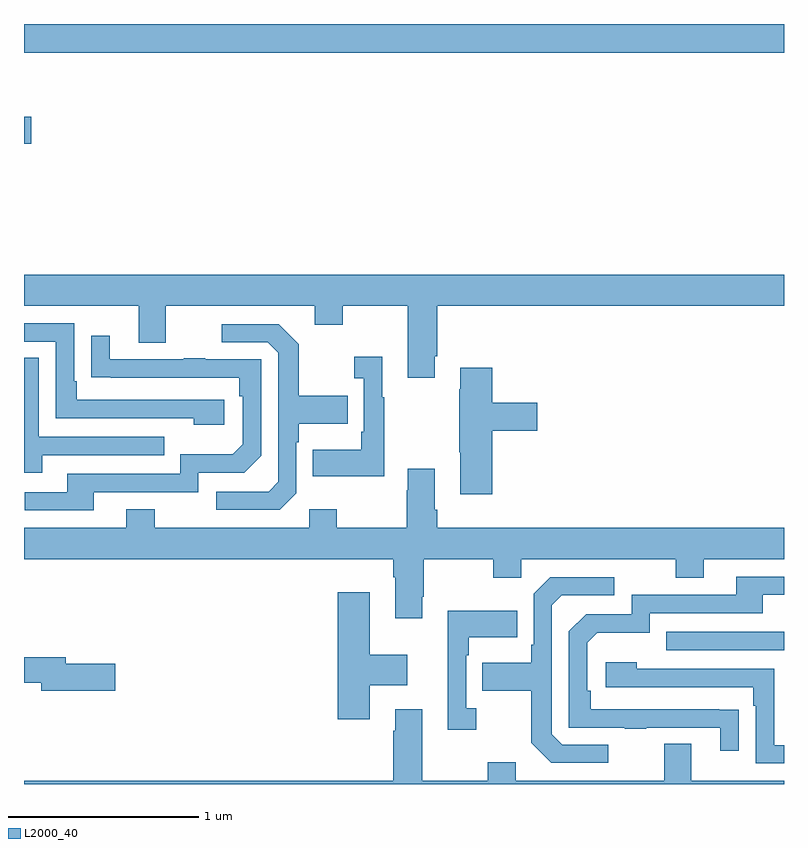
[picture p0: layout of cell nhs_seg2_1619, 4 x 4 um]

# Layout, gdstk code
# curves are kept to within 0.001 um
import gdstk
lib = gdstk.Library(unit=1e-6, precision=1e-09)
def R(c, l, rs):  # rectangles x0, y0, x1, y1
    for r in rs: c.add(gdstk.rectangle(r[:2], r[2:], *l))
def P(c, l, *ps):  # polygons
    for p in ps: c.add(gdstk.Polygon(p, *l))
L2000_40 = (2000, 40)

nhs_seg2_1619 = lib.new_cell('nhs_seg2_1619')
R(nhs_seg2_1619, L2000_40, [(198.379,632.505,199,632.601), (195,635.171,195.037,635.313), (195,635.648,199,635.8)])
P(nhs_seg2_1619, L2000_40, [(197.161,634.051),(197.174,634.051),(197.174,634.316),(199,634.316),(199,634.48),(195,634.48),(195,634.316),(195.605,634.316),(195.605,634.122),(195.745,634.122),(195.745,634.316),(196.529,634.316),(196.529,634.217),(196.677,634.217),(196.677,634.316),(197.021,634.316),(197.021,633.939),(197.161,633.939)],
  [(196.054,633.822),(195.277,633.822),(195.277,633.919),(195.264,633.919),(195.264,634.224),(195,634.224),(195,634.128),(195.168,634.128),(195.168,633.726),(195.893,633.726),(195.893,633.692),(196.054,633.692)],
  [(196.434,633.33),(196.434,633.599),(196.447,633.599),(196.447,633.695),(196.703,633.695),(196.703,633.843),(196.447,633.843),(196.447,634.115),(196.341,634.221),(196.041,634.221),(196.041,634.125),(196.284,634.125),(196.338,634.071),(196.338,633.39),(196.287,633.339),(196.011,633.339),(196.011,633.243),(196.347,633.243)],
  [(195.367,633.336),(195.918,633.336),(195.918,633.438),(196.158,633.438),(196.248,633.528),(196.248,634.035),(195.953,634.035),(195.953,634.04),(195.841,634.04),(195.841,634.035),(195.451,634.035),(195.451,634.159),(195.355,634.159),(195.355,633.94),(196.132,633.939),(196.132,633.842),(196.152,633.842),(196.152,633.588),(196.099,633.535),(195.822,633.535),(195.822,633.432),(195.227,633.432),(195.227,633.336),(195.003,633.336),(195.003,633.24),(195.367,633.24)],
  [(196.897,633.835),(196.885,633.835),(196.885,634.048),(196.737,634.048),(196.737,633.935),(196.788,633.935),(196.788,633.655),(196.776,633.655),(196.776,633.559),(196.519,633.559),(196.519,633.419),(196.897,633.419)],
  [(195.097,633.531),(195.737,633.531),(195.737,633.627),(195.078,633.627),(195.078,634.043),(195,634.043),(195,633.437),(195.097,633.437)],
  [(197.465,633.659),(197.701,633.659),(197.701,633.806),(197.465,633.806),(197.465,633.991),(197.297,633.991),(197.297,633.878),(197.29,633.878),(197.29,633.547),(197.297,633.547),(197.297,633.324),(197.465,633.324)],
  [(197.021,633.347),(197.014,633.347),(197.014,633.148),(196.647,633.148),(196.647,633.247),(196.5,633.247),(196.5,633.148),(195.687,633.148),(195.687,633.247),(195.539,633.247),(195.539,633.148),(195,633.148),(195,632.984),(196.943,632.984),(196.943,632.888),(196.955,632.888),(196.955,632.673),(197.095,632.673),(197.095,632.785),(197.103,632.785),(197.103,632.984),(197.47,632.984),(197.47,632.885),(197.616,632.885),(197.616,632.984),(198.43,632.984),(198.43,632.885),(198.577,632.885),(198.577,632.984),(199,632.984),(199,633.148),(197.174,633.148),(197.174,633.244),(197.161,633.244),(197.161,633.46),(197.021,633.46)],
  [(198.761,632.192),(197.984,632.193),(197.984,632.29),(197.964,632.29),(197.964,632.544),(198.017,632.597),(198.294,632.597),(198.294,632.7),(198.889,632.7),(198.889,632.796),(199,632.796),(199,632.892),(198.749,632.892),(198.749,632.796),(198.198,632.796),(198.198,632.694),(197.958,632.694),(197.868,632.604),(197.868,632.097),(198.163,632.097),(198.163,632.092),(198.275,632.092),(198.275,632.097),(198.665,632.097),(198.665,631.974),(198.761,631.974)],
  [(198.076,632.007),(197.832,632.007),(197.778,632.061),(197.778,632.742),(197.829,632.793),(198.106,632.793),(198.106,632.889),(197.769,632.889),(197.682,632.802),(197.682,632.533),(197.67,632.533),(197.67,632.437),(197.413,632.437),(197.413,632.29),(197.67,632.29),(197.67,632.017),(197.775,631.911),(198.076,631.911)],
  [(196.819,632.321),(197.017,632.321),(197.017,632.479),(196.819,632.479),(196.819,632.809),(196.652,632.809),(196.652,632.142),(196.819,632.142)],
  [(197.38,632.198),(197.328,632.198),(197.328,632.477),(197.341,632.477),(197.341,632.573),(197.597,632.573),(197.597,632.713),(197.231,632.713),(197.231,632.085),(197.38,632.085)],
  [(195.481,632.432),(195.22,632.432),(195.22,632.468),(195,632.468),(195,632.332),(195.092,632.332),(195.092,632.29),(195.481,632.29)],
  [(199,632.004),(198.948,632.004),(198.948,632.406),(198.224,632.406),(198.224,632.44),(198.063,632.44),(198.063,632.31),(198.839,632.31),(198.839,632.213),(198.852,632.213),(198.852,631.908),(199,631.908)],
  [(199,631.816),(198.511,631.816),(198.511,632.011),(198.371,632.011),(198.371,631.816),(197.587,631.816),(197.587,631.915),(197.44,631.915),(197.44,631.816),(197.095,631.816),(197.095,632.194),(196.955,632.194),(196.955,632.081),(196.943,632.081),(196.943,631.816),(195,631.816),(195,631.8),(199,631.8)])

lib.write_gds('nhs_seg2_1619.gds')
